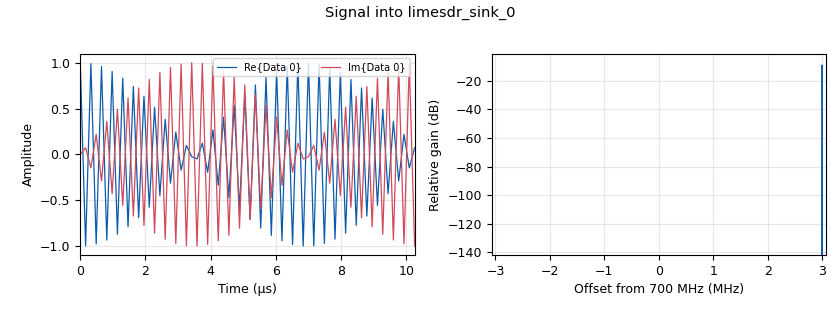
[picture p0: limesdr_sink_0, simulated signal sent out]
<?xml version='1.0' encoding='utf-8'?>
<?grc format='1' created='3.7.13'?>
<flow_graph>
<block>
<key>options</key>
<param><key>id</key><value>top_block</value></param>
<param><key>generate_options</key><value>wx_gui</value></param>
</block>
<block>
<key>variable</key>
<param><key>id</key><value>carrier</value></param>
<param><key>value</key><value>700e6</value></param>
</block>
<block>
<key>variable</key>
<param><key>id</key><value>offset</value></param>
<param><key>value</key><value>3e6</value></param>
</block>
<block>
<key>variable</key>
<param><key>id</key><value>samp_rate</value></param>
<param><key>value</key><value>61.44e6/10</value></param>
</block>
<block>
<key>analog_sig_source_x</key>
<param><key>id</key><value>analog_sig_source_x_0</value></param>
<param><key>amp</key><value>1</value></param>
<param><key>freq</key><value>offset</value></param>
<param><key>offset</key><value>0</value></param>
<param><key>type</key><value>complex</value></param>
<param><key>samp_rate</key><value>samp_rate</value></param>
<param><key>waveform</key><value>analog.GR_COS_WAVE</value></param>
</block>
<block>
<key>limesdr_sink</key>
<param><key>id</key><value>limesdr_sink_0</value></param>
<param><key>allow_tcxo_dac</key><value>0</value></param>
<param><key>analog_bandw_ch0</key><value>12e6</value></param>
<param><key>calibr_bandw_ch0</key><value>5e6</value></param>
<param><key>digital_bandw_ch0</key><value>0</value></param>
<param><key>gain_dB_ch0</key><value>60</value></param>
<param><key>pa_path_ch0</key><value>1</value></param>
<param><key>calibr_bandw_ch1</key><value>5e6</value></param>
<param><key>digital_bandw_ch1</key><value>0</value></param>
<param><key>gain_dB_ch1</key><value>30</value></param>
<param><key>pa_path_ch1</key><value>1</value></param>
<param><key>channel_mode</key><value>0</value></param>
<param><key>oversample</key><value>0</value></param>
<param><key>rf_freq</key><value>carrier</value></param>
<param><key>samp_rate</key><value>samp_rate</value></param>
<param><key>dacVal</key><value>125</value></param>
</block>
<block>
<key>limesdr_source</key>
<param><key>id</key><value>limesdr_source_0</value></param>
<param><key>allow_tcxo_dac</key><value>0</value></param>
<param><key>analog_bandw_ch0</key><value>12e6</value></param>
<param><key>calibr_bandw_ch0</key><value>5e6</value></param>
<param><key>digital_bandw_ch0</key><value>0</value></param>
<param><key>gain_dB_ch0</key><value>70</value></param>
<param><key>lna_path_ch0</key><value>1</value></param>
<param><key>analog_bandw_ch1</key><value>5e6</value></param>
<param><key>calibr_bandw_ch1</key><value>5e6</value></param>
<param><key>digital_bandw_ch1</key><value>0</value></param>
<param><key>gain_dB_ch1</key><value>30</value></param>
<param><key>channel_mode</key><value>0</value></param>
<param><key>oversample</key><value>0</value></param>
<param><key>rf_freq</key><value>carrier</value></param>
<param><key>samp_rate</key><value>samp_rate</value></param>
<param><key>dacVal</key><value>125</value></param>
</block>
<block>
<key>wxgui_fftsink2</key>
<param><key>id</key><value>wxgui_fftsink2_0</value></param>
<param><key>avg_alpha</key><value>0</value></param>
<param><key>average</key><value>False</value></param>
<param><key>baseband_freq</key><value>carrier</value></param>
<param><key>fft_size</key><value>1024</value></param>
<param><key>freqvar</key><value>None</value></param>
<param><key>peak_hold</key><value>True</value></param>
<param><key>ref_level</key><value>0</value></param>
<param><key>ref_scale</key><value>2.0</value></param>
<param><key>fft_rate</key><value>15</value></param>
<param><key>samp_rate</key><value>samp_rate</value></param>
<param><key>title</key><value>FFT Plot</value></param>
<param><key>type</key><value>complex</value></param>
<param><key>win</key><value>None</value></param>
<param><key>y_divs</key><value>10</value></param>
<param><key>y_per_div</key><value>10</value></param>
</block>
<connection><source_block_id>analog_sig_source_x_0</source_block_id><sink_block_id>limesdr_sink_0</sink_block_id><source_key>0</source_key><sink_key>0</sink_key></connection>
<connection><source_block_id>limesdr_source_0</source_block_id><sink_block_id>wxgui_fftsink2_0</sink_block_id><source_key>0</source_key><sink_key>0</sink_key></connection>
</flow_graph>
